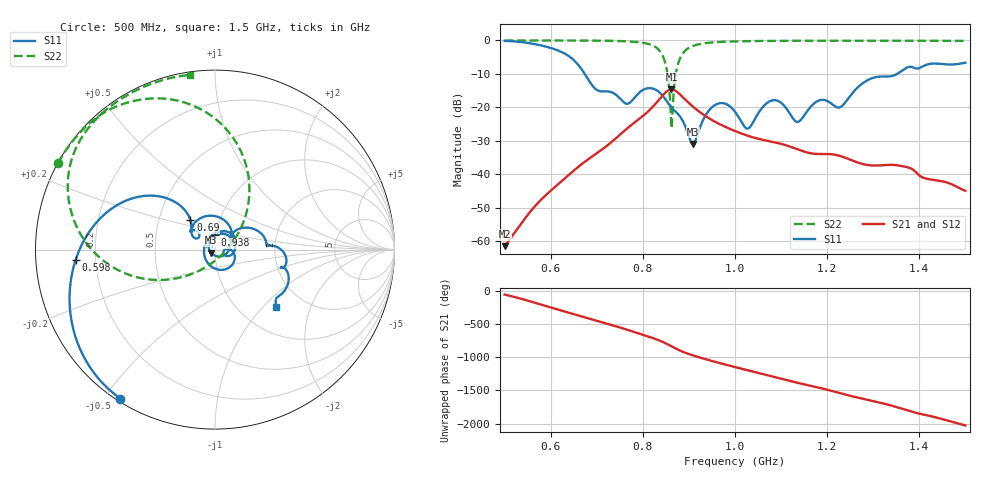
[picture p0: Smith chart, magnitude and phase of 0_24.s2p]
! TOUCHSTONE file generated by CST MICROWAVE STUDIO
! Date and time: Mon Sep 28 14:10:57 2020
! Project name: Scenario_1_Free_SPace.cst
! Parameters = {dx1=571.6; L_HA=400; MT=2.54; Rad_Dielectric=30; Rad_Lower=7.3; Rad_Upper=30; a_HA=580; a_WG=246; b_HA=500; b_WG=121; c_HA=0; c_WG=187; d_feed=85; h_feed=15; h_lower=18; h_upper=40}
! Header version: 2018
! Port assignment regex: !\s*Touchstone port\s*([0-9]+)\s*=\s*(CST MWS port|CST DS port)\s*([0-9]+|Zmin|Zmax)\s*\(\"(.*)\"\)(\s*mode\s*([0-9]+))?.*
! Touchstone port assignment:
! Touchstone port 1 = CST MWS port 1 ("")
! Touchstone port 2 = CST MWS port 2 ("")
# GHz S DB R 50
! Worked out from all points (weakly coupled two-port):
!   1003 points, 500 MHz to 1.5 GHz, reference 50 ohm
!   highest |S21| = -14.66 dB at 862 MHz (marker M1); lowest = -61.5 dB at 500 MHz (marker M2)
!   lowest |S11| = -31.0 dB at 909 MHz (marker M3), VSWR 1.06, Z = 47.8 - j1.65 ohm
!   |S11| at or under -10 dB: 673.8 MHz to 1.352 GHz (678 MHz wide, 66.9 % of centre)
!   |S22| runs from -26.3 to 0.0 dB; largest |S21 - S12| = 3.4e-05
!   S11 on the Smith chart (normalised r, x): 500 MHz: 0.01, -0.55; 598 MHz: 0.12, -0.04; 690 MHz: 0.72, +0.25; 938 MHz: 0.99, +0.16; 1.5 GHz: 1.45, -1.18
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0.5  -0.15 -122.4  -61.53 -47.2  -61.53 -47.2  -0.01 151.1
0.598  -2.16 -175.6  -45.20 121.4  -45.20 121.4  -0.02 144.3
0.639  -4.66 153.6  -40.24 39.4  -40.24 39.4  -0.03 140.9
0.667  -8.61 131.6  -37.03 -17.9  -37.03 -17.9  -0.04 138.4
0.69  -13.42 129.8  -34.70 -65.1  -34.70 -65.1  -0.06 136.0
0.765  -18.93 142.3  -26.43 142.2  -26.43 142.2  -0.28 124.6
0.834  -15.29 72.9  -17.92 -17.3  -17.92 -17.3  -2.70 90.2
0.85  -17.82 42.5  -15.47 -66.9  -15.47 -66.9  -7.53 63.1
0.862  -20.12 25.4  -14.66 -111.1  -14.66 -111.1  -26.27 -32.0
0.879  -22.43 -5.6  -15.94 -170.8  -15.94 -170.8  -5.93 -164.2
0.909  -30.99 -142.4  -19.82 110.9  -19.82 110.9  -1.63 165.2
0.938  -21.99 89.0  -22.80 50.0  -22.80 50.0  -0.77 153.3
0.969  -18.75 22.4  -25.20 -8.9  -25.20 -8.9  -0.43 145.9
1  -21.33 -24.3  -27.09 -65.3  -27.09 -65.3  -0.28 140.8
1.027  -26.35 -13.6  -28.47 -112.7  -28.47 -112.7  -0.21 137.3
1.078  -18.04 -31.8  -30.23 158.9  -30.23 158.9  -0.14 132.0
1.135  -24.37 171.2  -32.55 57.4  -32.55 57.4  -0.11 127.0
1.167  -19.42 72.4  -33.81 6.6  -33.81 6.6  -0.10 124.4
1.228  -19.98 32.0  -34.56 -100.7  -34.56 -100.8  -0.09 119.7
1.283  -12.27 28.3  -37.16 166.6  -37.16 166.6  -0.08 115.5
1.334  -10.79 4.1  -37.19 81.5  -37.19 81.5  -0.09 111.6
1.5  -6.66 -43.4  -44.96 130.6  -44.94 130.3  -0.14 98.2
